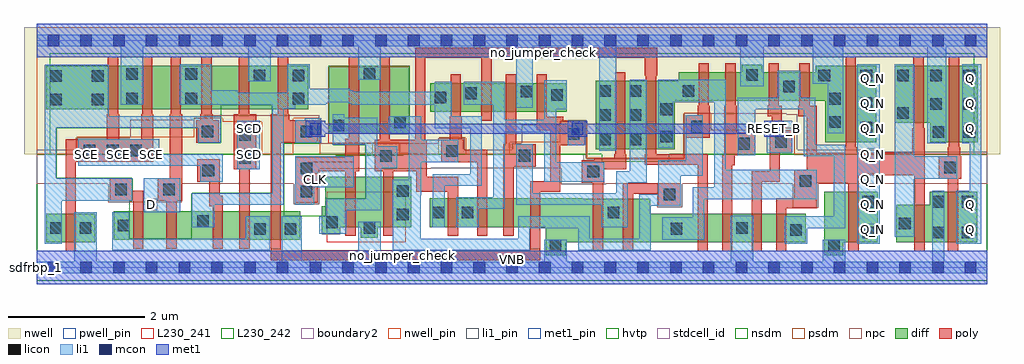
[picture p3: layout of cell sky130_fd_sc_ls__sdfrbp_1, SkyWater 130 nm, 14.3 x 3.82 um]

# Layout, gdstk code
import gdstk
lib = gdstk.Library(unit=1e-6, precision=1e-09)
def R(c, l, rs):  # rectangles x0, y0, x1, y1
    for r in rs: c.add(gdstk.rectangle(r[:2], r[2:], *l))
def A(c, l, x, y, w, h, nx, ny, dx, dy):  # array of equal rectangles
    R(c, l, [(x+i*dx, y+j*dy, x+i*dx+w, y+j*dy+h) for i in range(nx) for j in range(ny)])
def P(c, l, *ps):  # polygons
    for p in ps: c.add(gdstk.Polygon(p, *l))
nwell_pin = (64, 16)
nwell = (64, 20)
diff = (65, 20)
poly = (66, 20)
licon = (66, 44)
li1_pin = (67, 16)
li1 = (67, 20)
mcon = (67, 44)
met1_pin = (68, 16)
met1 = (68, 20)
hvtp = (78, 44)
stdcell_id = (81, 4)
nsdm = (93, 44)
psdm = (94, 20)
npc = (95, 20)
pwell_pin = (122, 16)
L230_241 = (230, 241)
L230_242 = (230, 242)
boundary2 = (236, 0)

sky130_fd_sc_ls__sdfrbp_ = lib.new_cell('sky130_fd_sc_ls__sdfrbp_1')
R(sky130_fd_sc_ls__sdfrbp_, nwell_pin, [(0,3.085,13.92,3.33)])
P(sky130_fd_sc_ls__sdfrbp_, nwell, [(14.11,3.52),(-0.19,3.52),(-0.19,1.66),(4.125,1.66),(4.125,1.675),(5.585,1.675),(5.585,1.66),(8.005,1.66),(8.005,1.555),(9.515,1.555),(9.515,1.66),(14.11,1.66)])
R(sky130_fd_sc_ls__sdfrbp_, diff, [(0.135,0.37,0.855,0.79), (1.125,0.405,3.86,0.825), (4.275,1.96,5.465,2.96), (5.765,2.285,7.765,2.705), (0.135,2.32,3.975,2.96)])
P(sky130_fd_sc_ls__sdfrbp_, diff, [(5.485,1.335),(4.225,1.335),(4.225,0.9),(4.175,0.9),(4.175,0.49),(4.445,0.49),(4.445,0.595),(4.745,0.595),(4.745,0.44),(4.995,0.44),(4.995,0.595),(5.485,0.595)],
  [(11.265,0.79),(8.985,0.79),(8.985,1.01),(8,1.01),(8,1.015),(5.755,1.015),(5.755,0.595),(7.455,0.595),(7.455,0.18),(7.745,0.18),(7.745,0.37),(11.265,0.37)],
  [(12.295,2.96),(11.41,2.96),(11.41,2.865),(10.63,2.865),(10.63,2.97),(10.325,2.97),(10.325,2.865),(9.4,2.865),(9.4,2.735),(8.185,2.735),(8.185,1.735),(9.345,1.735),(9.345,2.445),(11.55,2.445),(11.55,1.84),(12.295,1.84)],
  [(12.32,1.11),(11.535,1.11),(11.535,0.18),(11.815,0.18),(11.815,0.37),(12.32,0.37)],
  [(13.78,1.11),(13.08,1.11),(13.08,0.92),(12.59,0.92),(12.59,0.37),(13.78,0.37)],
  [(13.785,2.96),(12.565,2.96),(12.565,2.12),(13.085,2.12),(13.085,1.84),(13.785,1.84)])
P(sky130_fd_sc_ls__sdfrbp_, poly, [(1.56,1.13),(1.395,1.13),(1.395,1.31),(1.065,1.31),(1.065,0.98),(1.41,0.98),(1.41,0.275),(1.56,0.275)],
  [(13.545,1.63),(13.525,1.63),(13.525,1.765),(13.51,1.765),(13.51,3.09),(13.36,3.09),(13.36,1.765),(13.345,1.765),(13.345,1.63),(13.215,1.63),(13.215,1.3),(13.345,1.3),(13.345,0.24),(13.495,0.24),(13.495,1.3),(13.545,1.3)],
  [(1.705,2.245),(1.69,2.245),(1.69,3.09),(1.54,3.09),(1.54,2.245),(1.525,2.245),(1.525,1.88),(1.205,1.88),(1.205,2.245),(1.19,2.245),(1.19,3.09),(1.04,3.09),(1.04,2.245),(1.025,2.245),(1.025,1.88),(0.42,1.88),(0.42,0.24),(0.57,0.24),(0.57,1.55),(1.705,1.55)],
  [(2.125,2.245),(2.11,2.245),(2.11,3.09),(1.96,3.09),(1.96,2.245),(1.945,2.245),(1.945,1.31),(1.77,1.31),(1.77,0.98),(1.895,0.98),(1.895,0.275),(2.045,0.275),(2.045,0.98),(2.125,0.98)],
  [(2.665,2.16),(2.575,2.16),(2.575,2.245),(2.56,2.245),(2.56,3.09),(2.41,3.09),(2.41,2.245),(2.395,2.245),(2.395,2.16),(2.335,2.16),(2.335,1.83),(2.665,1.83)],
  [(2.725,1.05),(2.675,1.05),(2.675,1.59),(2.345,1.59),(2.345,1.26),(2.525,1.26),(2.525,0.9),(2.575,0.9),(2.575,0.275),(2.725,0.275)],
  [(13.005,2.045),(12.99,2.045),(12.99,3.09),(12.84,3.09),(12.84,2.045),(12.825,2.045),(12.825,1.685),(12.015,1.685),(12.015,1.765),(12,1.765),(12,3.09),(11.85,3.09),(11.85,1.765),(11.835,1.765),(11.835,1.685),(11.425,1.685),(11.425,2.37),(11.32,2.37),(11.32,2.995),(11.17,2.995),(11.17,2.37),(11.155,2.37),(11.155,2.22),(11.275,2.22),(11.275,1.435),(11.095,1.435),(11.095,1.02),(10.83,1.02),(10.83,0.24),(10.98,0.24),(10.98,0.87),(11.425,0.87),(11.425,1.235),(11.89,1.235),(11.89,0.24),(12.04,0.24),(12.04,1.355),(12.855,1.355),(12.855,0.24),(13.005,0.24)],
  [(3.215,2.245),(3.11,2.245),(3.11,3.09),(2.96,3.09),(2.96,2.245),(2.885,2.245),(2.885,1.44),(2.965,1.44),(2.965,0.275),(3.115,0.275),(3.115,1.44),(3.215,1.44)],
  [(4.72,3.09),(4.57,3.09),(4.57,1.885),(4.52,1.885),(4.52,1.62),(3.785,1.62),(3.785,0.95),(4.115,0.95),(4.115,1.41),(4.52,1.41),(4.52,0.465),(4.67,0.465),(4.67,1.41),(4.72,1.41)],
  [(6.6,1.725),(6.25,1.725),(6.25,1.875),(6.225,1.875),(6.225,2.21),(6.21,2.21),(6.21,2.835),(6.06,2.835),(6.06,2.21),(6.045,2.21),(6.045,1.875),(5.92,1.875),(5.92,1.545),(6.45,1.545),(6.45,0.465),(6.6,0.465)],
  [(7.31,1.805),(7.02,1.805),(7.02,2.835),(6.87,2.835),(6.87,1.805),(6.835,1.805),(6.835,0.465),(6.985,0.465),(6.985,1.475),(7.31,1.475)],
  [(8.025,2.145),(7.71,2.145),(7.71,2.21),(7.47,2.21),(7.47,2.835),(7.32,2.835),(7.32,2.015),(7.52,2.015),(7.52,1.265),(7.225,1.265),(7.225,0.255),(3.575,0.255),(3.575,1.83),(4.095,1.83),(4.095,1.85),(4.115,1.85),(4.115,2.16),(3.695,2.16),(3.695,2.245),(3.68,2.245),(3.68,3.09),(3.53,3.09),(3.53,2.245),(3.425,2.245),(3.425,0.105),(7.375,0.105),(7.375,1.115),(7.67,1.115),(7.67,1.795),(8.025,1.795)],
  [(8.635,1.66),(8.62,1.66),(8.62,2.865),(8.47,2.865),(8.47,1.66),(8.455,1.66),(8.455,1.595),(8.165,1.595),(8.165,1.575),(7.985,1.575),(7.985,1.245),(8.145,1.245),(8.145,0.24),(8.295,0.24),(8.295,1.245),(8.315,1.245),(8.315,1.445),(8.635,1.445)],
  [(9.435,1.235),(8.585,1.235),(8.585,0.24),(8.735,0.24),(8.735,1.085),(9.105,1.085),(9.105,0.905),(9.435,0.905)],
  [(9.83,1.66),(9.07,1.66),(9.07,2.81),(9.085,2.81),(9.085,3.225),(5.54,3.225),(5.54,1.875),(5.17,1.875),(5.17,3.09),(5.02,3.09),(5.02,1.875),(4.95,1.875),(4.95,1.41),(5.07,1.41),(5.07,0.465),(5.22,0.465),(5.22,1.41),(5.56,1.41),(5.56,1.115),(6.02,1.115),(6.02,0.465),(6.17,0.465),(6.17,1.335),(5.71,1.335),(5.71,1.875),(5.69,1.875),(5.69,3.075),(6.51,3.075),(6.51,2.155),(6.66,2.155),(6.66,3.075),(8.905,3.075),(8.905,2.81),(8.92,2.81),(8.92,1.66),(8.905,1.66),(8.905,1.51),(9.68,1.51),(9.68,0.24),(9.83,0.24)],
  [(9.86,2.37),(9.845,2.37),(9.845,2.995),(9.695,2.995),(9.695,2.37),(9.68,2.37),(9.68,2.23),(9.505,2.23),(9.505,1.9),(9.86,1.9)],
  [(10.525,1.98),(10.25,1.98),(10.25,2.37),(10.235,2.37),(10.235,2.995),(10.085,2.995),(10.085,2.37),(10.07,2.37),(10.07,1.65),(10.04,1.65),(10.04,0.24),(10.19,0.24),(10.19,1.5),(10.22,1.5),(10.22,1.65),(10.525,1.65)],
  [(11.065,2.01),(10.915,2.01),(10.915,2.37),(10.87,2.37),(10.87,2.995),(10.72,2.995),(10.72,2.37),(10.705,2.37),(10.705,2.22),(10.765,2.22),(10.765,2.01),(10.735,2.01),(10.735,1.41),(10.47,1.41),(10.47,0.24),(10.62,0.24),(10.62,1.26),(10.885,1.26),(10.885,1.68),(11.065,1.68)])
A(sky130_fd_sc_ls__sdfrbp_, licon, 0.685, 1.63, 0.17, 0.17, 3, 1, 0.34, 0)
A(sky130_fd_sc_ls__sdfrbp_, licon, 8.235, 1.795, 0.17, 0.17, 1, 3, 0, 0.355)
A(sky130_fd_sc_ls__sdfrbp_, licon, 8.685, 1.795, 0.17, 0.17, 1, 3, 0, 0.355)
A(sky130_fd_sc_ls__sdfrbp_, licon, 12.605, 2.73, 0.17, 0.17, 3, 1, 0.485, 0)
R(sky130_fd_sc_ls__sdfrbp_, licon, [(7.51,0.24,7.68,0.41), (11.59,0.24,11.76,0.41), (12.095,0.43,12.265,0.6), (13.12,0.43,13.29,0.6), (13.55,0.43,13.72,0.6), (11.035,0.465,11.205,0.635), (3.18,0.48,3.35,0.65), (3.63,0.48,3.8,0.65), (9.285,0.485,9.455,0.655), (0.195,0.495,0.365,0.665), (0.625,0.495,0.795,0.665), (10.245,0.495,10.415,0.665), (4.785,0.5,4.955,0.67), (1.185,0.535,1.355,0.705), (12.63,0.56,12.8,0.73), (4.235,0.58,4.405,0.75), (2.35,0.595,2.52,0.765), (5.275,0.695,5.445,0.865), (5.795,0.725,5.965,0.895), (6.225,0.725,6.395,0.895), (8.36,0.725,8.53,0.895), (12.095,0.88,12.265,1.05), (13.12,0.88,13.29,1.05), (13.55,0.88,13.72,1.05), (9.185,0.985,9.355,1.155), (3.865,1.03,4.035,1.2), (5.275,1.035,5.445,1.205), (1.145,1.06,1.315,1.23), (1.85,1.06,2.02,1.23), (11.175,1.185,11.345,1.355), (8.065,1.325,8.235,1.495), (2.425,1.34,2.595,1.51), (3.865,1.37,4.035,1.54), (13.295,1.38,13.465,1.55), (2.965,1.52,3.135,1.69), (5.03,1.55,5.2,1.72), (7.06,1.555,7.23,1.725), (6,1.625,6.17,1.795), (10.275,1.73,10.445,1.9), (10.815,1.76,10.985,1.93), (9.135,1.835,9.305,2.005), (2.965,1.86,3.135,2.03), (7.775,1.875,7.945,2.045), (13.125,1.9,13.295,2.07), (13.575,1.9,13.745,2.07), (2.415,1.91,2.585,2.08), (3.865,1.91,4.035,2.08), (12.065,1.97,12.235,2.14), (9.585,1.98,9.755,2.15), (4.335,2,4.505,2.17), (5.235,2.045,5.405,2.215), (11.61,2.05,11.78,2.22), (12.605,2.18,12.775,2.35), (9.135,2.235,9.305,2.405), (13.09,2.315,13.26,2.485), (13.575,2.315,13.745,2.485), (12.065,2.33,12.235,2.5), (0.195,2.38,0.365,2.55), (0.805,2.38,0.975,2.55), (1.305,2.39,1.475,2.56), (2.175,2.39,2.345,2.56), (3.745,2.39,3.915,2.56), (11.61,2.39,11.78,2.56), (5.825,2.41,5.995,2.58), (7.535,2.445,7.705,2.615), (6.275,2.47,6.445,2.64), (7.085,2.495,7.255,2.665), (9.46,2.505,9.63,2.675), (10.935,2.57,11.105,2.74), (0.195,2.725,0.365,2.895), (0.805,2.725,0.975,2.895), (3.175,2.73,3.345,2.9), (3.745,2.73,3.915,2.9), (11.45,2.73,11.62,2.9), (12.065,2.73,12.235,2.9), (10.39,2.74,10.56,2.91), (1.305,2.75,1.475,2.92), (2.175,2.75,2.345,2.92), (4.785,2.75,4.955,2.92)])
A(sky130_fd_sc_ls__sdfrbp_, li1_pin, 12.155, 0.47, 0.17, 0.17, 1, 7, 0, 0.37)
A(sky130_fd_sc_ls__sdfrbp_, li1_pin, 0.635, 1.58, 0.17, 0.17, 3, 1, 0.48, 0)
A(sky130_fd_sc_ls__sdfrbp_, li1_pin, 13.595, 1.95, 0.17, 0.17, 1, 3, 0, 0.37)
R(sky130_fd_sc_ls__sdfrbp_, li1_pin, [(13.595,0.47,13.765,0.64), (1.595,0.84,1.765,1.01), (13.595,0.84,13.765,1.01), (3.995,1.21,4.165,1.38), (3.035,1.58,3.205,1.75), (3.035,1.95,3.205,2.12)])
R(sky130_fd_sc_ls__sdfrbp_, li1, [(12.015,0.35,12.345,2.98), (1.565,0.81,2.1,1.31), (2.935,1.44,3.265,2.15), (10.695,1.685,11.065,2.15), (7.775,1.795,8.035,2.15)])
P(sky130_fd_sc_ls__sdfrbp_, li1, [(13.92,0.085),(13.29,0.085),(13.29,1.13),(13.12,1.13),(13.12,0.085),(11.84,0.085),(11.84,0.41),(11.51,0.41),(11.51,0.085),(10.495,0.085),(10.495,0.76),(10.165,0.76),(10.165,0.085),(7.76,0.085),(7.76,0.41),(7.43,0.41),(7.43,0.085),(5.035,0.085),(5.035,0.67),(4.705,0.67),(4.705,0.085),(3.88,0.085),(3.88,0.75),(3.59,0.75),(3.59,0.085),(0.875,0.085),(0.875,0.81),(0.545,0.81),(0.545,0.085),(0,0.085),(0,-0.085),(13.92,-0.085)],
  [(13.485,1.63),(12.855,1.63),(12.855,2.98),(12.57,2.98),(12.57,0.455),(12.855,0.455),(12.855,1.3),(13.485,1.3)],
  [(11.425,1.435),(10.095,1.435),(10.095,2.755),(9.105,2.755),(9.105,1.755),(9.325,1.755),(9.325,2.425),(9.925,2.425),(9.925,1.175),(9.605,1.175),(9.605,0.735),(9.165,0.735),(9.165,0.405),(9.775,0.405),(9.775,1.005),(11.425,1.005)],
  [(2.695,2.22),(1.055,2.22),(1.055,2.975),(0.115,2.975),(0.115,0.35),(0.365,0.35),(0.365,0.98),(1.395,0.98),(1.395,1.31),(0.285,1.31),(0.285,2.05),(2.365,2.05),(2.365,1.83),(2.695,1.83)],
  [(9.755,2.23),(9.505,2.23),(9.505,1.575),(9.105,1.575),(9.105,1.075),(8.825,1.075),(8.825,0.425),(8.1,0.425),(8.1,0.75),(7.05,0.75),(7.05,0.425),(5.62,0.425),(5.62,1.07),(5.63,1.07),(5.63,1.545),(6.175,1.545),(6.175,1.875),(5.63,1.875),(5.63,2.215),(5.155,2.215),(5.155,1.955),(5.45,1.955),(5.45,1.285),(5.215,1.285),(5.215,0.255),(7.22,0.255),(7.22,0.58),(7.93,0.58),(7.93,0.255),(8.995,0.255),(8.995,0.905),(9.435,0.905),(9.435,1.345),(9.755,1.345)],
  [(13.835,2.98),(13.555,2.98),(13.555,1.82),(13.665,1.82),(13.665,1.13),(13.47,1.13),(13.47,0.35),(13.835,0.35)],
  [(11.845,1.8),(11.405,1.8),(11.405,2.49),(11.185,2.49),(11.185,2.885),(10.855,2.885),(10.855,2.49),(10.265,2.49),(10.265,1.65),(10.525,1.65),(10.525,2.32),(11.235,2.32),(11.235,1.63),(11.675,1.63),(11.675,0.75),(10.955,0.75),(10.955,0.35),(11.285,0.35),(11.285,0.58),(11.845,0.58)],
  [(13.92,3.415),(0,3.415),(0,3.245),(1.225,3.245),(1.225,2.39),(1.555,2.39),(1.555,3.245),(3.095,3.245),(3.095,2.73),(3.425,2.73),(3.425,3.245),(4.705,3.245),(4.705,2.75),(5.035,2.75),(5.035,3.245),(7.025,3.245),(7.025,2.345),(7.265,2.345),(7.265,3.245),(8.235,3.245),(8.235,1.715),(8.485,1.715),(8.485,3.245),(10.305,3.245),(10.305,2.66),(10.65,2.66),(10.65,3.245),(11.37,3.245),(11.37,2.695),(11.585,2.695),(11.585,1.97),(11.815,1.97),(11.815,3.245),(13.045,3.245),(13.045,1.82),(13.325,1.82),(13.325,3.245),(13.92,3.245)],
  [(8.315,1.545),(7.605,1.545),(7.605,2.32),(7.765,2.32),(7.765,2.745),(7.435,2.745),(7.435,2.165),(6.855,2.165),(6.855,2.725),(6.25,2.725),(6.25,2.385),(6.685,2.385),(6.685,1.03),(6.145,1.03),(6.145,0.595),(6.47,0.595),(6.47,0.86),(6.855,0.86),(6.855,1.985),(7.435,1.985),(7.435,1.26),(8.315,1.26)],
  [(2.725,1.66),(1.795,1.66),(1.795,1.88),(0.605,1.88),(0.605,1.49),(2.395,1.49),(2.395,1.26),(2.725,1.26)],
  [(3.41,0.75),(3.06,0.75),(3.06,0.425),(1.355,0.425),(1.355,0.81),(1.105,0.81),(1.105,0.255),(3.41,0.255)],
  [(4.165,2.19),(3.92,2.19),(3.92,2.16),(3.785,2.16),(3.785,1.83),(4.165,1.83)],
  [(4.645,1.63),(3.785,1.63),(3.785,0.92),(4.06,0.92),(4.06,1.18),(4.645,1.18)],
  [(5.28,1.775),(4.985,1.775),(4.985,2.195),(4.505,2.195),(4.505,2.25),(4.335,2.25),(4.335,1.8),(4.815,1.8),(4.815,1.01),(4.23,1.01),(4.23,0.75),(4.135,0.75),(4.135,0.5),(4.535,0.5),(4.535,0.84),(5.045,0.84),(5.045,1.455),(5.28,1.455)],
  [(8.935,2.755),(8.685,2.755),(8.685,1.415),(8.485,1.415),(8.485,1.09),(7.265,1.09),(7.265,1.805),(7.025,1.805),(7.025,0.92),(8.27,0.92),(8.27,0.595),(8.655,0.595),(8.655,1.245),(8.935,1.245)],
  [(6.515,2.215),(6.075,2.215),(6.075,2.725),(5.825,2.725),(5.825,2.58),(4.645,2.58),(4.645,2.585),(4.63,2.585),(4.63,2.59),(4.61,2.59),(4.61,2.6),(4.58,2.6),(4.58,2.62),(3.995,2.62),(3.995,2.98),(3.665,2.98),(3.665,2.56),(2.945,2.56),(2.945,2.6),(2.555,2.6),(2.555,2.98),(2.095,2.98),(2.095,2.39),(3.445,2.39),(3.445,1.09),(2.27,1.09),(2.27,0.595),(2.6,0.595),(2.6,0.92),(3.615,0.92),(3.615,2.33),(3.785,2.33),(3.785,2.385),(4.23,2.385),(4.23,2.4),(4.25,2.4),(4.25,2.42),(4.555,2.42),(4.555,2.415),(4.57,2.415),(4.57,2.41),(4.59,2.41),(4.59,2.4),(4.615,2.4),(4.615,2.385),(5.825,2.385),(5.825,2.045),(6.345,2.045),(6.345,1.37),(5.8,1.37),(5.8,0.995),(5.795,0.995),(5.795,0.595),(5.975,0.595),(5.975,1.2),(6.515,1.2)])
A(sky130_fd_sc_ls__sdfrbp_, mcon, 0.155, -0.085, 0.17, 0.17, 29, 2, 0.48, 3.33)
R(sky130_fd_sc_ls__sdfrbp_, mcon, [(3.995,1.95,4.165,2.12), (7.835,1.95,8.005,2.12), (10.715,1.95,10.885,2.12)])
R(sky130_fd_sc_ls__sdfrbp_, met1_pin, [(0,0,13.92,0.245), (10.715,1.95,10.885,2.12), (0,3.085,13.92,3.33)])
R(sky130_fd_sc_ls__sdfrbp_, met1, [(0,-0.245,13.92,0.245), (0,3.085,13.92,3.575)])
P(sky130_fd_sc_ls__sdfrbp_, met1, [(10.945,2.15),(10.655,2.15),(10.655,2.105),(8.065,2.105),(8.065,2.15),(7.775,2.15),(7.775,2.105),(4.225,2.105),(4.225,2.15),(3.935,2.15),(3.935,1.92),(4.225,1.92),(4.225,1.965),(7.775,1.965),(7.775,1.92),(8.065,1.92),(8.065,1.965),(10.655,1.965),(10.655,1.92),(10.945,1.92)])
P(sky130_fd_sc_ls__sdfrbp_, hvtp, [(13.73,3.14),(0.19,3.14),(0.19,1.66),(4.375,1.66),(4.375,1.64),(5.365,1.64),(5.365,1.66),(8.275,1.66),(8.275,1.555),(9.265,1.555),(9.265,1.66),(13.73,1.66)])
R(sky130_fd_sc_ls__sdfrbp_, stdcell_id, [(0,0,13.92,3.33)])
P(sky130_fd_sc_ls__sdfrbp_, nsdm, [(13.92,1.66),(9.475,1.66),(9.475,1.605),(8.055,1.605),(8.055,1.66),(0,1.66),(0,-0.19),(13.92,-0.19)])
P(sky130_fd_sc_ls__sdfrbp_, psdm, [(13.92,3.52),(0,3.52),(0,1.66),(0.575,1.66),(0.575,1.91),(2.305,1.91),(2.305,2.19),(2.725,2.19),(2.725,2.14),(3.295,2.14),(3.295,1.66),(3.755,1.66),(3.755,2.19),(4.145,2.19),(4.145,1.66),(4.92,1.66),(4.92,1.83),(5.31,1.83),(5.31,1.66),(5.89,1.66),(5.89,1.905),(6.28,1.905),(6.28,1.66),(6.93,1.66),(6.93,1.835),(7.665,1.835),(7.665,2.155),(8.055,2.155),(8.055,1.605),(9.475,1.605),(9.475,2.26),(9.875,2.26),(9.875,2.01),(10.705,2.01),(10.705,2.04),(11.095,2.04),(11.095,1.66),(13.92,1.66)])
P(sky130_fd_sc_ls__sdfrbp_, npc, [(13.92,1.7),(12.425,1.7),(12.425,1.73),(11.14,1.73),(11.14,2.245),(10.98,2.245),(10.98,2.265),(9.485,2.265),(9.485,1.595),(8.045,1.595),(8.045,2.145),(7.675,2.145),(7.675,2.09),(7.105,2.09),(7.105,1.825),(6.96,1.825),(6.96,1.73),(6.27,1.73),(6.27,1.895),(5.88,1.895),(5.88,1.82),(4.135,1.82),(4.135,2.23),(2.45,2.23),(2.45,2.19),(2.305,2.19),(2.305,2.165),(1.37,2.165),(1.37,1.9),(0.585,1.9),(0.585,1.73),(0,1.73),(0,1.23),(1.045,1.23),(1.045,0.96),(2.12,0.96),(2.12,1.23),(3.765,1.23),(3.765,0.93),(4.135,0.93),(4.135,1.45),(5.77,1.45),(5.77,1.455),(7.685,1.455),(7.685,1.225),(8.335,1.225),(8.335,1.23),(9.085,1.23),(9.085,0.885),(9.455,0.885),(9.455,1.23),(11.075,1.23),(11.075,0.88),(11.445,0.88),(11.445,1.23),(13.92,1.23)])
R(sky130_fd_sc_ls__sdfrbp_, pwell_pin, [(0,0,13.92,0.245)])
R(sky130_fd_sc_ls__sdfrbp_, L230_241, [(4.245,0.37,5.4,1.11), (1.565,0.81,2.1,1.31), (3.965,1.18,4.645,1.55), (2.935,1.44,3.265,2.15), (4.265,1.82,5.455,2.94)])
P(sky130_fd_sc_ls__sdfrbp_, L230_241, [(1.795,1.66),(2.725,1.66),(2.725,1.26),(2.395,1.26),(2.395,1.49),(0.605,1.49),(0.605,1.88),(1.795,1.88)])
P(sky130_fd_sc_ls__sdfrbp_, L230_242, [(7.375,0.275),(7.225,0.275),(7.225,0.255),(3.575,0.255),(3.575,0.275),(3.425,0.275),(3.425,0.105),(7.375,0.105)],
  [(3.445,2.39),(2.695,2.39),(2.695,1.83),(2.365,1.83),(2.365,2.05),(0.285,2.05),(0.285,1.31),(1.395,1.31),(1.395,0.98),(1.355,0.98),(1.355,0.425),(2.27,0.425),(2.27,1.09),(3.445,1.09)],
  [(4.815,1.8),(4.335,1.8),(4.335,1.82),(3.615,1.82),(3.615,0.75),(4.23,0.75),(4.23,1.01),(4.815,1.01)])
R(sky130_fd_sc_ls__sdfrbp_, boundary2, [(0,0,13.92,3.33)])
sky130_fd_sc_ls__sdfrbp_.add(gdstk.Label('sdfrbp_1', (0,0), layer=83, texttype=44))
sky130_fd_sc_ls__sdfrbp_.add(gdstk.Label('no_jumper_check', (7.42,3.15), layer=83, texttype=44))
sky130_fd_sc_ls__sdfrbp_.add(gdstk.Label('no_jumper_check', (5.35,0.18), layer=83, texttype=44))
sky130_fd_sc_ls__sdfrbp_.add(gdstk.Label('VNB', (6.96,0.123), layer=64, texttype=59))
sky130_fd_sc_ls__sdfrbp_.add(gdstk.Label('VPB', (6.96,3.208), layer=64, texttype=5))
sky130_fd_sc_ls__sdfrbp_.add(gdstk.Label('RESET_B', (10.8,2.035), layer=68, texttype=5))
sky130_fd_sc_ls__sdfrbp_.add(gdstk.Label('VPWR', (6.96,3.208), layer=68, texttype=5))
sky130_fd_sc_ls__sdfrbp_.add(gdstk.Label('VGND', (6.96,0.123), layer=68, texttype=5))
sky130_fd_sc_ls__sdfrbp_.add(gdstk.Label('Q_N', (12.24,2.035), layer=67, texttype=5))
sky130_fd_sc_ls__sdfrbp_.add(gdstk.Label('Q_N', (12.24,2.405), layer=67, texttype=5))
sky130_fd_sc_ls__sdfrbp_.add(gdstk.Label('Q_N', (12.24,2.775), layer=67, texttype=5))
sky130_fd_sc_ls__sdfrbp_.add(gdstk.Label('SCE', (0.72,1.665), layer=67, texttype=5))
sky130_fd_sc_ls__sdfrbp_.add(gdstk.Label('SCE', (1.2,1.665), layer=67, texttype=5))
sky130_fd_sc_ls__sdfrbp_.add(gdstk.Label('SCE', (1.68,1.665), layer=67, texttype=5))
sky130_fd_sc_ls__sdfrbp_.add(gdstk.Label('CLK', (4.08,1.295), layer=67, texttype=5))
sky130_fd_sc_ls__sdfrbp_.add(gdstk.Label('SCD', (3.12,1.665), layer=67, texttype=5))
sky130_fd_sc_ls__sdfrbp_.add(gdstk.Label('SCD', (3.12,2.035), layer=67, texttype=5))
sky130_fd_sc_ls__sdfrbp_.add(gdstk.Label('D', (1.68,0.925), layer=67, texttype=5))
sky130_fd_sc_ls__sdfrbp_.add(gdstk.Label('Q', (13.68,0.925), layer=67, texttype=5))
sky130_fd_sc_ls__sdfrbp_.add(gdstk.Label('Q', (13.68,2.035), layer=67, texttype=5))
sky130_fd_sc_ls__sdfrbp_.add(gdstk.Label('Q', (13.68,2.405), layer=67, texttype=5))
sky130_fd_sc_ls__sdfrbp_.add(gdstk.Label('Q', (13.68,2.775), layer=67, texttype=5))
sky130_fd_sc_ls__sdfrbp_.add(gdstk.Label('Q', (13.68,0.555), layer=67, texttype=5))
sky130_fd_sc_ls__sdfrbp_.add(gdstk.Label('Q_N', (12.24,0.555), layer=67, texttype=5))
sky130_fd_sc_ls__sdfrbp_.add(gdstk.Label('Q_N', (12.24,0.925), layer=67, texttype=5))
sky130_fd_sc_ls__sdfrbp_.add(gdstk.Label('Q_N', (12.24,1.295), layer=67, texttype=5))
sky130_fd_sc_ls__sdfrbp_.add(gdstk.Label('Q_N', (12.24,1.665), layer=67, texttype=5))

lib.write_gds('sky130_fd_sc_ls__sdfrbp_1.gds')
